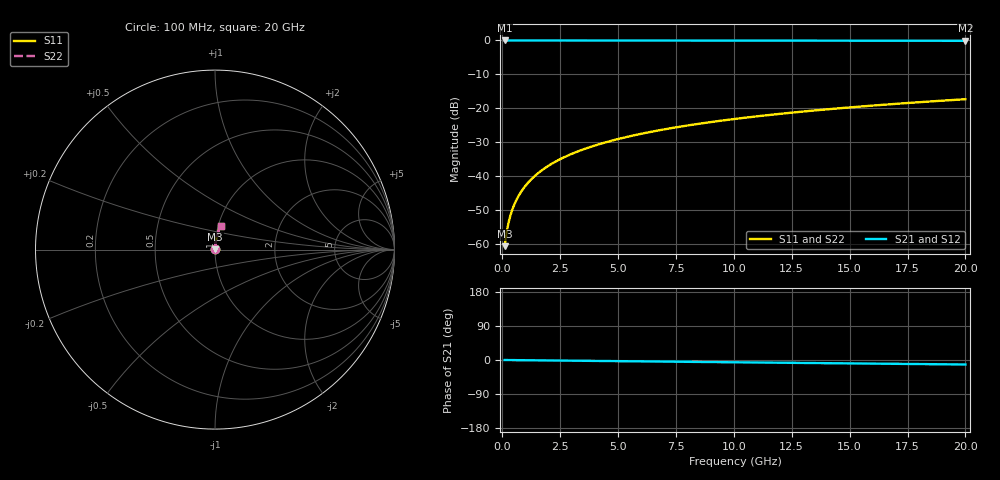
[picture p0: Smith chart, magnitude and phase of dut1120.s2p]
! Touchstone file exported from HFSS 2026.1.0
!  File:  C:/ffzhzh/LocalFiles/Ansys_Project_Files/temp_train_BSMRDL_1120_1783175106_22436.aedt
!  Generated:  10:26:20 PM Jul  4, 2026
!  Design:  BSMRDL
!  Project:  temp_train_BSMRDL_1120_1783175106_22436
! Variables:
!  h_bsmrdl = 5.44um
!  h_ox = 20um
!  h_rdl = 5um
!  h_sub = 80um
!  h_tmrdl = 5um
!  h_tsv = 80um
!  h_via = 3um
!  l_bsmrdl = 122.26um
!  l_sub = 522.26um
!  l_tmrdl = 200um
!  m_sub = 200um
!  pitch = 52.97um
!  r_tsv = 6um
!  s_tmrdl = 10um
!  w_bsmrdl = 18.26um
!  w_sub = 500um
!  w_tmrdl = 12um
!  x_tsv_center1 = 206um
!  x_tsv_center2 = 346.52um
!  x_tsv_center3 = 558.52um
!  x_tsv_center4 = 699.04um
!  x_tsv_center5 = 911.04um
!  x_tsv_center6 = 1051.56um
# GHz S MA R 50.000000
! Terminal data exported
! Port[1] = BSM_RDL1_1_T1
! Port[2] = BSM_RDL1_1_T2
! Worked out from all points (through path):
!   200 points, 100 MHz to 20 GHz, reference 50 ohm
!   highest |S21| = 0.00 dB at 100 MHz (marker M1); lowest = -0.1 dB at 20 GHz (marker M2)
!   group delay of S21, straight-line fit = 1.64 ps
!   lowest |S11| = -60.5 dB at 100 MHz (marker M3), VSWR 1.00, Z = 50.1 + j0.0758 ohm
!   |S11| at or under -10 dB: start of sweep to end of sweep
!   |S22| runs from -60.5 to -17.3 dB; largest |S21 - S12| = 3e-15
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0.1  0.0009447 53.3  0.9994 -0.1  0.9994 -0.1  0.0009447 53.3
! Gamma 0 0 0 0
! Port Impedance 50 0 50 0
0.2  0.001615 68.5  0.9994 -0.1  0.9994 -0.1  0.001615 68.5
0.3  0.00232 74.5  0.9994 -0.2  0.9994 -0.2  0.00232 74.5
0.4  0.00303 77.6  0.9994 -0.3  0.9994 -0.3  0.00303 77.6
0.5  0.003739 79.5  0.9993 -0.3  0.9993 -0.3  0.003739 79.5
0.7  0.005158 81.8  0.9993 -0.4  0.9993 -0.4  0.005158 81.8
0.8  0.005869 82.6  0.9993 -0.5  0.9993 -0.5  0.005869 82.6
1  0.007292 83.6  0.9992 -0.6  0.9992 -0.6  0.007292 83.6
1.2  0.008718 84.3  0.9992 -0.7  0.9992 -0.7  0.008718 84.3
1.4  0.01014 84.7  0.9992 -0.9  0.9992 -0.9  0.01014 84.7
1.7  0.01228 85.1  0.9991 -1.0  0.9991 -1.0  0.01228 85.1
2  0.01442 85.3  0.999 -1.2  0.999 -1.2  0.01442 85.3
2.7  0.01939 85.5  0.9988 -1.6  0.9988 -1.6  0.01939 85.5
3.5  0.02503 85.3  0.9986 -2.1  0.9986 -2.1  0.02503 85.3
4.2  0.02994 85.0  0.9983 -2.6  0.9983 -2.6  0.02994 85.0
5  0.03551 84.7  0.998 -3.0  0.998 -3.0  0.03551 84.7
6.8  0.04795 83.9  0.9972 -4.1  0.9972 -4.1  0.04795 83.9
8.3  0.05824 83.1  0.9964 -5.0  0.9964 -5.0  0.05824 83.1
10.1  0.07052 82.2  0.9954 -6.1  0.9954 -6.1  0.07052 82.2
13.4  0.09286 80.5  0.9932 -8.0  0.9932 -8.0  0.09286 80.5
16.7  0.1149 78.7  0.9907 -9.9  0.9907 -9.9  0.1149 78.7
20  0.1367 76.9  0.9876 -11.9  0.9876 -11.9  0.1367 76.9
